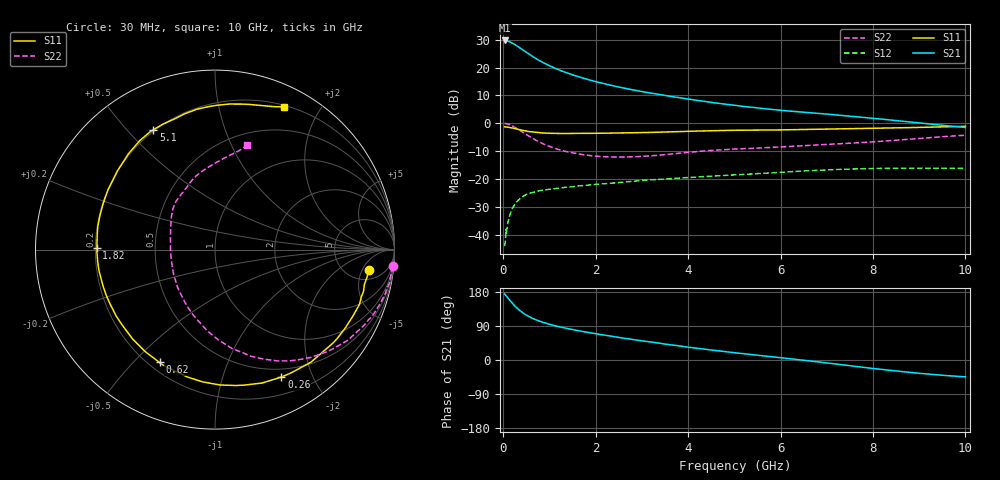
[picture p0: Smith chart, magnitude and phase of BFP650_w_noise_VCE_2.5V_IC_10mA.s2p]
! Infineon Technologies  Discrete & RF Semiconductors
! BFP650
! VCE =  2.5 V,  IC =  10 mA
! Common Emitter S-Parameters:  Jan 2016
# GHz  S  MA  R  50
!  f  S11  S21  S12  S22
! GHz  MAG  ANG  MAG  ANG  MAG  ANG  MAG  ANG
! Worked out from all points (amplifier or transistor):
!   229 points, 30 MHz to 10 GHz, reference 50 ohm
!   highest |S21| = 29.8 dB at 40 MHz (marker M1)
!   |S21| within 3 dB of that: start of sweep to 390.1 MHz
!   unconditionally stable (mu >= 1): 3.377 GHz to end of sweep
!   at 280 MHz: K = 0.13, MSG = 28.2 dB, |S12| = -28.5 dB
!   at 1.78 GHz: K = 0.71, MSG = 19.1 dB, |S12| = -22.3 dB
!   at 10 GHz: K = 1.06, MAG = 5.9 dB, |S12| = -16.2 dB
!   lowest NFmin = 0.58 dB at 450 MHz
!   S11 on the Smith chart (normalised r, x): 30 MHz: 8, -7; 260 MHz: 0.40, -1.58; 620 MHz: 0.24, -0.60; 1.82 GHz: 0.21, +0.01; 5.1 GHz: 0.19, +0.59; 10 GHz: 0.22, +1.57
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0.03  0.8645 -7.5  30.63 174.6  0.0062 85.4  0.9948 -5.3
0.04  0.8608 -10.3  30.81 172.9  0.0071 86.1  0.9915 -7.2
0.1  0.8528 -25.9  30.14 163.7  0.0161 78.8  0.9695 -17.8
0.14  0.8422 -35.8  29.19 157.7  0.022 76.0  0.9402 -24.6
0.2  0.8242 -49.6  27.62 149.1  0.03 65.8  0.8961 -34.3
0.26  0.8005 -62.5  25.83 141.4  0.0359 58.9  0.8394 -43.0
0.34  0.7724 -77.8  23.3 132.5  0.0424 54.1  0.7647 -53.6
0.45  0.74 -95.5  20.16 122.3  0.0498 46.1  0.6681 -66.0
0.5  0.7261 -102.3  18.86 118.4  0.0527 44.0  0.629 -71.1
0.62  0.7003 -116.2  16.19 110.7  0.0567 39.6  0.5475 -81.6
0.7  0.6888 -124.2  14.71 106.3  0.059 36.7  0.5021 -88.1
0.8  0.6773 -132.6  13.17 101.6  0.0622 33.9  0.4551 -95.4
1  0.6635 -146.1  10.82 94.2  0.0655 30.9  0.3857 -108.1
1.3  0.6562 -161.4  8.494 85.3  0.0698 27.8  0.3204 -125.0
1.7  0.6571 -176.7  6.585 75.7  0.0758 25.2  0.2749 -144.6
1.82  0.6586 179.4  6.166 73.0  0.0774 24.7  0.267 -150.0
2.5  0.6701 161.3  4.486 59.6  0.0862 21.5  0.2475 -176.8
3.4  0.6942 142.7  3.265 44.0  0.099 17.0  0.2688 156.9
5.1  0.7512 117.2  2.059 18.0  0.1196 7.5  0.347 128.0
6.8  0.7821 99.6  1.51 -4.8  0.1431 -4.1  0.4091 107.8
8.4  0.8254 79.1  1.143 -27.7  0.1556 -18.3  0.4898 88.3
10  0.8823 64.3  0.842 -44.5  0.1548 -29.5  0.6104 72.9
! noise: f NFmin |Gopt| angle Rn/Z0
0.45  0.58  0.09  70  0.61
0.9  0.59  0.12  117  0.4
1.9  0.8  0.26  160  0.06
2.4  0.9  0.27  172  0.06
3.5  1.22  0.31  -137  0.22
